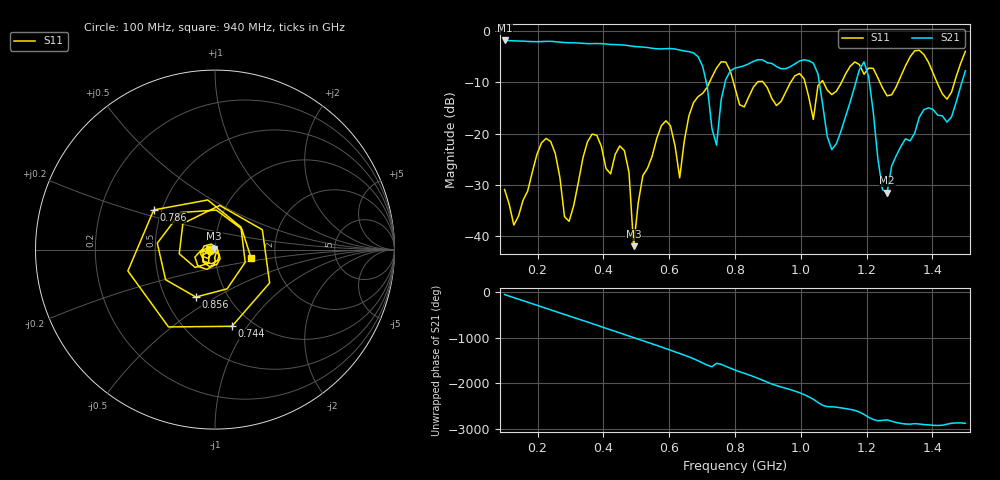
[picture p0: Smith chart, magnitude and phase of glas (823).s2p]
! NanoVNA-App
! Date: 2025-09-25 16:01:53
! Start: 100MHz Stop: 1,5GHz Points: 101
! S-Parameter data: F S11 S21 S12 S22
# Hz S RI R 50
!  Frequency  S11_Real  S11_Imag  S21_Real  S21_Imag  S12_Real  S12_Imag  S22_Real  S22_Imag
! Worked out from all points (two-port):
!   101 points, 100 MHz to 1.5 GHz, reference 50 ohm
!   highest |S21| = -1.80 dB at 100 MHz (marker M1); lowest = -31.6 dB at 1.262 GHz (marker M2)
!   |S21| within 3 dB of the highest: start of sweep to 684.6 MHz
!   lowest |S11| = -42.0 dB at 492 MHz (marker M3), VSWR 1.02, Z = 49.5 + j0.606 ohm
!   |S11| at or under -10 dB: start of sweep to 722.4 MHz; 795.4 MHz to 867.8 MHz (72.41 MHz wide, 8.71 % of centre); 886.3 MHz to 968.8 MHz (82.52 MHz wide, 8.9 % of centre) (the widest 3 of 7)
!   S12 and S22 are empty: the file has one direction only
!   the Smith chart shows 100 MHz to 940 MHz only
!   S11 on the Smith chart (normalised r, x): 100 MHz: 0.94, -0.01; 744 MHz: 0.81, -0.85; 786 MHz: 0.45, +0.24; 856 MHz: 0.71, -0.41; 940 MHz: 1.49, -0.14
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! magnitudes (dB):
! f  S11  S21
! 100 MHz  -30.9  -1.8
! 128 MHz  -37.9  -1.9
! 226 MHz  -20.9  -2.0
! 296 MHz  -37.1  -2.2
! 338 MHz  -24.7  -2.4
! 464 MHz  -23.3  -2.7
! 492 MHz  -42.0  -3.0
! 576 MHz  -18.5  -3.5
! 632 MHz  -28.6  -3.7
! 702 MHz  -12.1  -6.9
! 744 MHz  -7.2  -22.3
! 786 MHz  -7.8  -7.7
! 800 MHz  -11.1  -7.2
! 856 MHz  -10.9  -5.9
! 940 MHz  -13.7  -7.3
! 996 MHz  -8.3  -5.8
! 1.038 GHz  -17.2  -6.2
! 1.094 GHz  -12.4  -23.1
! 1.192 GHz  -8.4  -6.0
! 1.262 GHz  -12.6  -31.6
! 1.276 GHz  -12.4  -26.3
! 1.5 GHz  -3.9  -7.7
